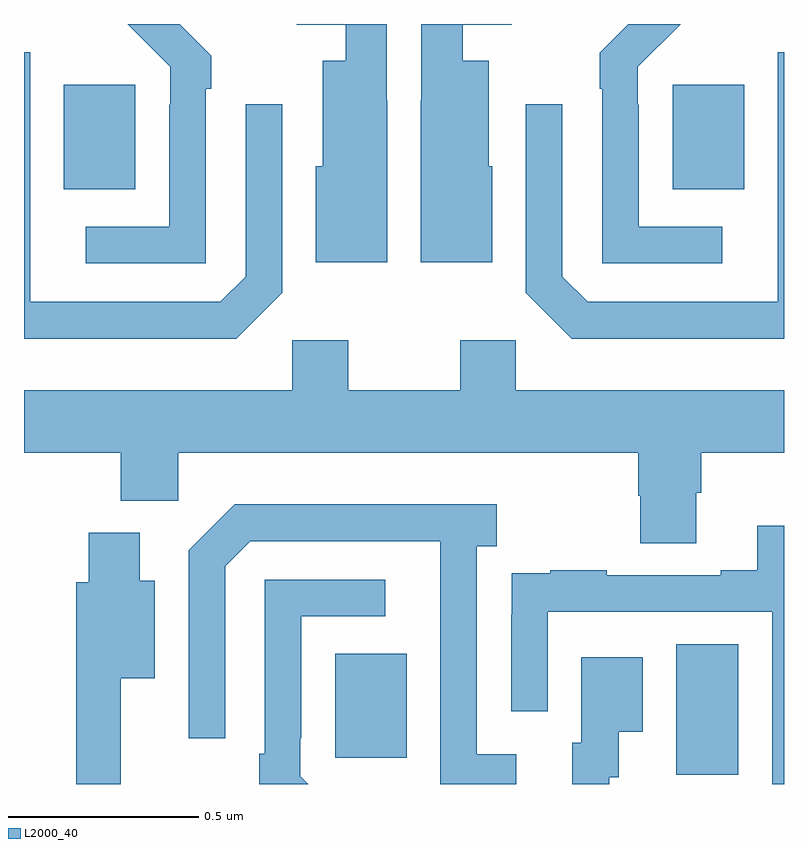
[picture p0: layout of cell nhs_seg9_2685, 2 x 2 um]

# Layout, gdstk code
import gdstk
lib = gdstk.Library(unit=1e-6, precision=1e-09)
def R(c, l, rs):  # rectangles x0, y0, x1, y1
    for r in rs: c.add(gdstk.rectangle(r[:2], r[2:], *l))
def P(c, l, *ps):  # polygons
    for p in ps: c.add(gdstk.Polygon(p, *l))
L2000_40 = (2000, 40)

nhs_seg9_2685 = lib.new_cell('nhs_seg9_2685')
R(nhs_seg9_2685, L2000_40, [(144.716,1243.525,144.88,1243.868), (143.819,1243.569,144.007,1243.843), (143.105,1245.065,143.293,1245.34), (144.707,1245.065,144.895,1245.34)])
P(nhs_seg9_2685, L2000_40, [(143.478,1245.329),(143.493,1245.329),(143.493,1245.417),(143.41,1245.5),(143.273,1245.5),(143.385,1245.387),(143.385,1245.287),(143.382,1245.287),(143.382,1244.967),(143.163,1244.967),(143.163,1244.871),(143.478,1244.871)],
  [(143.956,1245.299),(143.955,1245.299),(143.955,1245.5),(143.718,1245.5),(143.718,1245.498),(143.847,1245.498),(143.847,1245.403),(143.786,1245.403),(143.786,1245.126),(143.768,1245.126),(143.768,1244.873),(143.956,1244.873)],
  [(144.232,1245.126),(144.223,1245.126),(144.223,1245.403),(144.154,1245.403),(144.154,1245.498),(144.283,1245.498),(144.283,1245.5),(144.045,1245.5),(144.045,1245.299),(144.044,1245.299),(144.044,1244.873),(144.232,1244.873)],
  [(144.838,1244.967),(144.618,1244.967),(144.618,1245.287),(144.615,1245.287),(144.615,1245.387),(144.728,1245.5),(144.59,1245.5),(144.515,1245.424),(144.515,1245.329),(144.522,1245.329),(144.522,1244.871),(144.838,1244.871)],
  [(143.679,1244.793),(143.679,1245.289),(143.583,1245.289),(143.583,1244.835),(143.517,1244.769),(143.017,1244.769),(143.017,1244.969),(143.016,1244.969),(143.016,1245.426),(143,1245.426),(143,1244.672),(143.558,1244.672)],
  [(145,1245.426),(144.984,1245.426),(144.984,1244.969),(144.983,1244.969),(144.983,1244.769),(144.483,1244.769),(144.417,1244.835),(144.417,1245.289),(144.321,1245.289),(144.321,1244.793),(144.442,1244.672),(145,1244.672)],
  [(144.769,1244.266),(144.782,1244.266),(144.782,1244.372),(145,1244.372),(145,1244.536),(144.294,1244.536),(144.294,1244.668),(144.148,1244.668),(144.148,1244.536),(143.853,1244.536),(143.853,1244.668),(143.706,1244.668),(143.706,1244.536),(143,1244.536),(143,1244.372),(143.255,1244.372),(143.255,1244.246),(143.406,1244.246),(143.406,1244.372),(144.617,1244.372),(144.617,1244.259),(144.622,1244.259),(144.622,1244.134),(144.769,1244.134)],
  [(144.295,1243.578),(144.192,1243.578),(144.192,1244.126),(144.244,1244.126),(144.244,1244.236),(143.554,1244.236),(143.433,1244.115),(143.433,1243.62),(143.529,1243.62),(143.529,1244.073),(143.595,1244.139),(144.095,1244.139),(144.095,1243.939),(144.096,1243.939),(144.096,1243.5),(144.295,1243.5)],
  [(145,1244.179),(144.929,1244.179),(144.929,1244.062),(144.833,1244.062),(144.833,1244.049),(144.533,1244.049),(144.533,1244.062),(144.385,1244.062),(144.385,1244.055),(144.283,1244.055),(144.283,1243.946),(144.282,1243.946),(144.282,1243.692),(144.378,1243.692),(144.378,1243.953),(144.969,1243.953),(144.969,1243.5),(145,1243.5)],
  [(143.255,1243.778),(143.344,1243.778),(143.344,1244.035),(143.305,1244.035),(143.305,1244.161),(143.171,1244.161),(143.171,1244.031),(143.137,1244.031),(143.137,1243.5),(143.255,1243.5)],
  [(143.727,1243.521),(143.727,1243.621),(143.73,1243.621),(143.73,1243.941),(143.95,1243.941),(143.95,1244.037),(143.634,1244.037),(143.634,1243.579),(143.619,1243.579),(143.619,1243.5),(143.748,1243.5)],
  [(144.54,1243.518),(144.565,1243.518),(144.565,1243.637),(144.628,1243.637),(144.628,1243.834),(144.467,1243.834),(144.467,1243.608),(144.443,1243.608),(144.443,1243.5),(144.54,1243.5)])

lib.write_gds('nhs_seg9_2685.gds')
